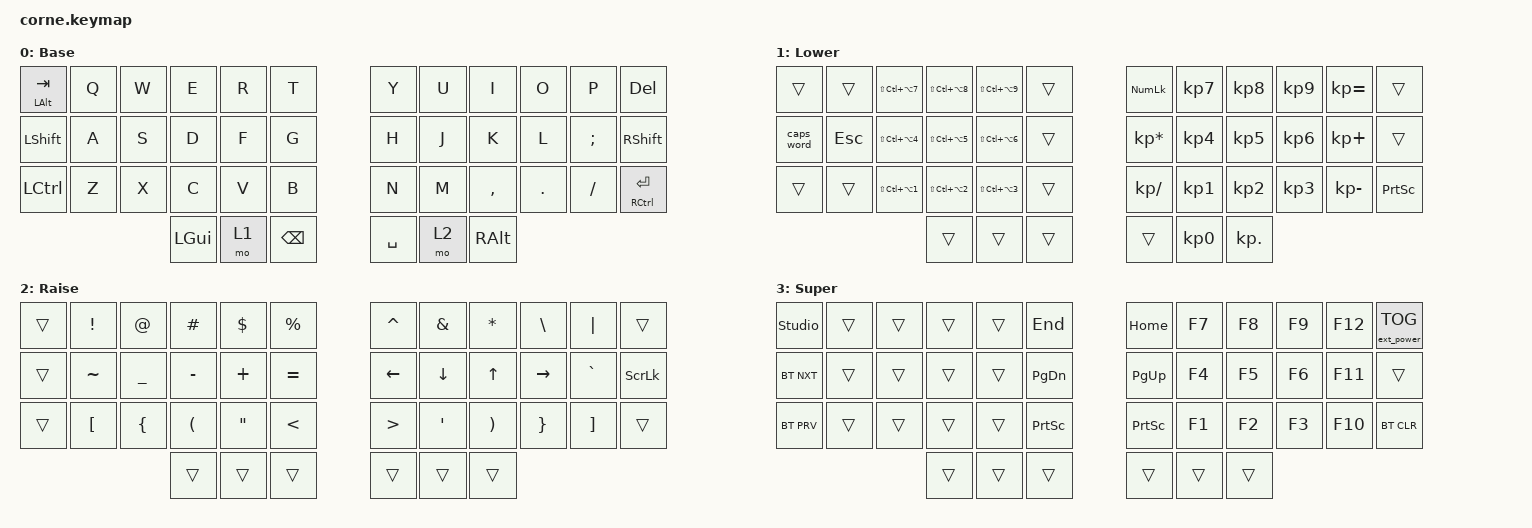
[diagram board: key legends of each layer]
/*
 * Copyright (c) 2020 The ZMK Contributors
 *
 * SPDX-License-Identifier: MIT
 */

#include <behaviors.dtsi>
#include <dt-bindings/zmk/bt.h>
#include <dt-bindings/zmk/ext_power.h>
#include <dt-bindings/zmk/keys.h>

/ {
    keymap {
        compatible = "zmk,keymap";

        base {
            label = "Base";
            bindings = <
&mt LEFT_ALT TAB  &kp Q  &kp W  &kp E     &kp R  &kp T            &kp Y      &kp U  &kp I      &kp O    &kp P     &kp DEL
&kp LEFT_SHIFT    &kp A  &kp S  &kp D     &kp F  &kp G            &kp H      &kp J  &kp K      &kp L    &kp SEMI  &kp RIGHT_SHIFT
&kp LCTRL         &kp Z  &kp X  &kp C     &kp V  &kp B            &kp N      &kp M  &kp COMMA  &kp DOT  &kp FSLH  &mt RCTRL ENTER
                                &kp LGUI  &mo 1  &kp BACKSPACE    &kp SPACE  &mo 2  &kp RALT
            >;
        };

        keypad-launcher {
            label = "Lower";
            bindings = <
&trans      &trans   &kp LS(LC(LA(NUMBER_7)))  &kp LS(LC(LA(NUMBER_8)))  &kp LS(LC(LA(NUMBER_9)))  &trans    &kp KP_NUMLOCK   &kp KP_NUMBER_7  &kp KP_NUMBER_8  &kp KP_NUMBER_9  &kp KP_EQUAL     &trans
&caps_word  &kp ESC  &kp LS(LC(LA(NUMBER_4)))  &kp LS(LC(LA(NUMBER_5)))  &kp LS(LC(LA(NUMBER_6)))  &trans    &kp KP_MULTIPLY  &kp KP_NUMBER_4  &kp KP_NUMBER_5  &kp KP_NUMBER_6  &kp KP_PLUS      &trans
&trans      &trans   &kp LS(LC(LA(NUMBER_1)))  &kp LS(LC(LA(NUMBER_2)))  &kp LS(LC(LA(NUMBER_3)))  &trans    &kp KP_DIVIDE    &kp KP_NUMBER_1  &kp KP_NUMBER_2  &kp KP_NUMBER_3  &kp KP_SUBTRACT  &kp PRINTSCREEN
                                               &trans                    &trans                    &trans    &trans           &kp KP_NUMBER_0  &kp KP_DOT
            >;
        };

        special {
            label = "Raise";
            bindings = <
&trans  &kp EXCL   &kp AT          &kp HASH              &kp DLLR           &kp PRCNT        &kp CARET         &kp AMPS  &kp ASTERISK           &kp BSLH         &kp PIPE   &trans
&trans  &kp TILDE  &kp UNDERSCORE  &kp MINUS             &kp PLUS           &kp EQUAL        &kp LEFT          &kp DOWN  &kp UP                 &kp RIGHT        &kp GRAVE  &kp SCROLLLOCK
&trans  &kp LBKT   &kp LEFT_BRACE  &kp LEFT_PARENTHESIS  &kp DOUBLE_QUOTES  &kp LESS_THAN    &kp GREATER_THAN  &kp SQT   &kp RIGHT_PARENTHESIS  &kp RIGHT_BRACE  &kp RBKT   &trans
                                   &trans                &trans             &trans           &trans            &trans    &trans
            >;
        };

        function {
            bindings = <
&studio_unlock  &trans  &trans  &trans  &trans  &kp END            &kp HOME         &kp F7  &kp F8  &kp F9  &kp F12  &ext_power EP_TOG
&bt BT_NXT      &trans  &trans  &trans  &trans  &kp PG_DN          &kp PG_UP        &kp F4  &kp F5  &kp F6  &kp F11  &trans
&bt BT_PRV      &trans  &trans  &trans  &trans  &kp PRINTSCREEN    &kp PRINTSCREEN  &kp F1  &kp F2  &kp F3  &kp F10  &bt BT_CLR
                                &trans  &trans  &trans             &trans           &trans  &trans
            >;

            label = "Super";
        };
    };

    conditional_layers {
        compatible = "zmk,conditional-layers";

        both {
            if-layers = <1 2>;
            then-layer = <3>;
        };
    };
};
